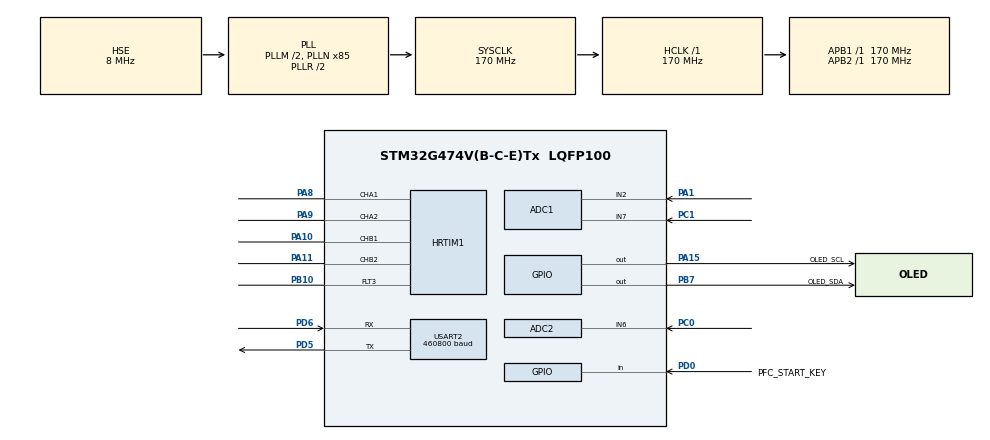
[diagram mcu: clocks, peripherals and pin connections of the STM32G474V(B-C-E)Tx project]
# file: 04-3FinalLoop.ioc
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ADC1.AWD1HighThreshold=4095
ADC1.AWD1ITMode=ENABLE
ADC1.AWD1LowThreshold=0
ADC1.AWD2HighThreshold=4080
ADC1.AWD2ITMode=ENABLE
ADC1.AWDChannel-1\#ChannelRegularConversion=ADC_CHANNEL_7
ADC1.Channel-0\#ChannelRegularConversion=ADC_CHANNEL_2
ADC1.Channel-1\#ChannelRegularConversion=ADC_CHANNEL_7
ADC1.ClockPrescaler=ADC_CLOCK_ASYNC_DIV4
ADC1.DMAContinuousRequests=ENABLE
ADC1.EOCSelection=ADC_EOC_SEQ_CONV
ADC1.EnableAnalogWatchDog1=true
ADC1.EnableAnalogWatchDog2=true
ADC1.EnableAnalogWatchDog3=false
ADC1.ExternalTrigConv=ADC_EXTERNALTRIG_HRTIM_TRG1
ADC1.MonitoredBy-1\#ChannelRegularConversion=ADC_ANALOGWATCHDOG_2
ADC1.NbrOfConversion=2
ADC1.NbrOfConversionFlag=1
ADC1.OffsetNumber-0\#ChannelRegularConversion=ADC_OFFSET_NONE
ADC1.OffsetNumber-1\#ChannelRegularConversion=ADC_OFFSET_NONE
ADC1.Overrun=ADC_OVR_DATA_OVERWRITTEN
ADC1.Rank-0\#ChannelRegularConversion=1
ADC1.Rank-1\#ChannelRegularConversion=2
ADC1.RegFilteringConfig-1\#ChannelRegularConversion=ADC_AWD_FILTERING_NONE
ADC1.SamplingTime-0\#ChannelRegularConversion=ADC_SAMPLETIME_24CYCLES_5
ADC1.SamplingTime-1\#ChannelRegularConversion=ADC_SAMPLETIME_24CYCLES_5
ADC1.WDG2ChannelR2=ADC_CHANNEL_7
ADC1.WatchdogChannel=ADC_CHANNEL_2
ADC1.WatchdogMode2=ADC_ANALOGWATCHDOG_SINGLE_REGINJEC
ADC1.master=1
ADC2.AWD1HighThreshold=4095
ADC2.AWD1ITMode=ENABLE
ADC2.Channel-0\#ChannelRegularConversion=ADC_CHANNEL_6
ADC2.ClockPrescaler=ADC_CLOCK_ASYNC_DIV4
ADC2.DMAContinuousRequests=ENABLE
ADC2.EnableAnalogWatchDog1=true
ADC2.ExternalTrigConv=ADC_EXTERNALTRIG_HRTIM_TRG1
ADC2.NbrOfConversion=1
ADC2.NbrOfConversionFlag=1
ADC2.OffsetNumber-0\#ChannelRegularConversion=ADC_OFFSET_NONE
ADC2.Overrun=ADC_OVR_DATA_OVERWRITTEN
ADC2.Rank-0\#ChannelRegularConversion=1
ADC2.SamplingTime-0\#ChannelRegularConversion=ADC_SAMPLETIME_24CYCLES_5
ADC2.WatchdogChannel=ADC_CHANNEL_6
Dma.ADC1.0.Direction=DMA_PERIPH_TO_MEMORY
Dma.ADC1.0.EventEnable=DISABLE
Dma.ADC1.0.Instance=DMA1_Channel1
Dma.ADC1.0.MemDataAlignment=DMA_MDATAALIGN_HALFWORD
Dma.ADC1.0.MemInc=DMA_MINC_ENABLE
Dma.ADC1.0.Mode=DMA_CIRCULAR
Dma.ADC1.0.PeriphDataAlignment=DMA_PDATAALIGN_HALFWORD
Dma.ADC1.0.PeriphInc=DMA_PINC_DISABLE
Dma.ADC1.0.Polarity=HAL_DMAMUX_REQ_GEN_RISING
Dma.ADC1.0.Priority=DMA_PRIORITY_HIGH
Dma.ADC1.0.RequestNumber=1
Dma.ADC1.0.SignalID=NONE
Dma.ADC1.0.SyncEnable=DISABLE
Dma.ADC1.0.SyncPolarity=HAL_DMAMUX_SYNC_NO_EVENT
Dma.ADC1.0.SyncRequestNumber=1
Dma.ADC1.0.SyncSignalID=NONE
Dma.ADC2.1.Direction=DMA_PERIPH_TO_MEMORY
Dma.ADC2.1.EventEnable=DISABLE
Dma.ADC2.1.Instance=DMA1_Channel2
Dma.ADC2.1.MemDataAlignment=DMA_MDATAALIGN_HALFWORD
Dma.ADC2.1.MemInc=DMA_MINC_ENABLE
Dma.ADC2.1.Mode=DMA_CIRCULAR
Dma.ADC2.1.PeriphDataAlignment=DMA_PDATAALIGN_HALFWORD
Dma.ADC2.1.PeriphInc=DMA_PINC_DISABLE
Dma.ADC2.1.Polarity=HAL_DMAMUX_REQ_GEN_RISING
Dma.ADC2.1.Priority=DMA_PRIORITY_HIGH
Dma.ADC2.1.RequestNumber=1
Dma.ADC2.1.SignalID=NONE
Dma.ADC2.1.SyncEnable=DISABLE
Dma.ADC2.1.SyncPolarity=HAL_DMAMUX_SYNC_NO_EVENT
Dma.ADC2.1.SyncRequestNumber=1
Dma.ADC2.1.SyncSignalID=NONE
Dma.Request0=ADC1
Dma.Request1=ADC2
HRTIM1.ADCTrigger1_Source1=HRTIM_ADCTRIGGEREVENT13_MASTER_CMP2
HRTIM1.ADCTrigger_Id1=HRTIM_ADCTRIGGER_1
HRTIM1.BlankingSourceFaultLine3=__NULL
HRTIM1.Bmrom_TA=HRTIM_TIM_BMROM_BOTH
HRTIM1.Bmrom_TB=HRTIM_TIM_BMROM_BOTH
HRTIM1.CompareUnit1-Output_TA1TA2=HRTIM_COMPAREUNIT_1
HRTIM1.CompareUnit1-Output_TB1TB2=HRTIM_COMPAREUNIT_1
HRTIM1.CompareUnit2-MasterTimer=HRTIM_COMPAREUNIT_2
HRTIM1.CompareValue1-Output_TA1TA2=17000
HRTIM1.CompareValue1-Output_TB1TB2=17000
HRTIM1.CompareValue2-MasterTimer=17000
HRTIM1.DeadTimeInsertion-Output_TA1TA2=HRTIM_TIMDEADTIMEINSERTION_ENABLED
HRTIM1.DeadTimeInsertion-Output_TB1TB2=HRTIM_TIMDEADTIMEINSERTION_ENABLED
HRTIM1.FallingValue-Output_TA1TA2=85
HRTIM1.FallingValue-Output_TB1TB2=85
HRTIM1.FaultEnable_Source1-Output_TA1TA2=HRTIM_TIMFAULTENABLE_FAULT3
HRTIM1.FaultEnable_Source1-Output_TB1TB2=HRTIM_TIMFAULTENABLE_FAULT3
HRTIM1.FaultLevel1-Output_TA1TA2=HRTIM_OUTPUTFAULTLEVEL_INACTIVE
HRTIM1.FaultLevel1-Output_TB1TB2=HRTIM_OUTPUTFAULTLEVEL_INACTIVE
HRTIM1.FaultLevel2-Output_TA1TA2=HRTIM_OUTPUTFAULTLEVEL_INACTIVE
HRTIM1.FaultLevel2-Output_TB1TB2=HRTIM_OUTPUTFAULTLEVEL_INACTIVE
HRTIM1.Fault_Line3=HRTIM_FAULT_3
HRTIM1.Ferom_TA=HRTIM_TIM_FEROM_BOTH
HRTIM1.Ferom_TB=HRTIM_TIM_FEROM_BOTH
HRTIM1.HRTIMInterruptResquests1=HRTIM_IT_FLT3
HRTIM1.NumberADCTriggerSource1=1
HRTIM1.NumberFaultEnable-Output_TA1TA2=1
HRTIM1.NumberFaultEnable-Output_TB1TB2=1
HRTIM1.NumberResetSource1-Output_TA1TA2=1
HRTIM1.NumberResetSource1-Output_TB1TB2=1
HRTIM1.NumberSetSource1-Output_TA1TA2=1
HRTIM1.NumberSetSource1-Output_TB1TB2=1
HRTIM1.NumberUpdateTrigger-Output_TA1TA2=0
HRTIM1.Outrom_TA=HRTIM_TIM_OUTROM_VALLEY
HRTIM1.Outrom_TB=HRTIM_TIM_OUTROM_VALLEY
HRTIM1.Periode_MASTER=34000
HRTIM1.Periode_TA=34000
HRTIM1.Periode_TB=34000
HRTIM1.Polarity_FaultLine3=HRTIM_FAULTPOLARITY_LOW
HRTIM1.PreloadEnable-Output_TA1TA2=HRTIM_PRELOAD_ENABLED
HRTIM1.PreloadEnable-Output_TB1TB2=HRTIM_PRELOAD_ENABLED
HRTIM1.PrescalerDead-Output_TA1TA2=HRTIM_TIMDEADTIME_PRESCALERRATIO_DIV1
HRTIM1.PrescalerDead-Output_TB1TB2=HRTIM_TIMDEADTIME_PRESCALERRATIO_DIV1
HRTIM1.PrescalerRatio_MASTER=HRTIM_PRESCALERRATIO_MUL2
HRTIM1.PrescalerRatio_TA=HRTIM_PRESCALERRATIO_MUL4
HRTIM1.PrescalerRatio_TB=HRTIM_PRESCALERRATIO_MUL4
HRTIM1.RepetitionCounter-MasterTimer=0
HRTIM1.RepetitionCounter-Output_TA1TA2=0
HRTIM1.RepetitionCounter-Output_TB1TB2=0
HRTIM1.RepetitionUpdate-Output_TA1TA2=HRTIM_UPDATEONREPETITION_ENABLED
HRTIM1.RepetitionUpdate-Output_TB1TB2=HRTIM_UPDATEONREPETITION_ENABLED
HRTIM1.ResetOutput1_Source1-Output_TA1TA2=HRTIM_OUTPUTRESET_TIMCMP1
HRTIM1.ResetOutput1_Source1-Output_TB1TB2=HRTIM_OUTPUTRESET_TIMCMP1
HRTIM1.RisingValue-Output_TA1TA2=85
HRTIM1.RisingValue-Output_TB1TB2=85
HRTIM1.SetOutput1_Source1-Output_TA1TA2=HRTIM_OUTPUTSET_TIMCMP1
HRTIM1.SetOutput1_Source1-Output_TB1TB2=HRTIM_OUTPUTSET_TIMCMP1
HRTIM1.UpDownMode-Output_TA1TA2=HRTIM_TIMERUPDOWNMODE_UPDOWN
HRTIM1.UpDownMode-Output_TB1TB2=HRTIM_TIMERUPDOWNMODE_UPDOWN
HRTIM1.postscaler1=0
HRTIM1.rom_TA=HRTIM_TIM_ROM_VALLEY
HRTIM1.rom_TB=HRTIM_TIM_ROM_VALLEY
IWDG.Prescaler=IWDG_PRESCALER_64
IWDG.Reload=249
Mcu.Family=STM32G4
Mcu.Name=STM32G474V(B-C-E)Tx
Mcu.Package=LQFP100
NVIC.ADC1_2_IRQn=true\:1\:0\:true\:false\:true\:true\:true\:true
NVIC.DMA1_Channel1_IRQn=true\:2\:0\:true\:false\:true\:false\:true\:true
NVIC.DMA1_Channel2_IRQn=true\:1\:0\:true\:false\:true\:false\:true\:true
NVIC.HRTIM1_FLT_IRQn=true\:0\:0\:false\:false\:true\:true\:true\:true
NVIC.PriorityGroup=NVIC_PRIORITYGROUP_4
PA1.Mode=IN2-Single-Ended
PA1.Signal=ADC1_IN2
PA10.Mode=Output_TB1TB2
PA10.Signal=HRTIM1_CHB1
PA11.Mode=Output_TB1TB2
PA11.Signal=HRTIM1_CHB2
PA13.Mode=Serial_Wire
PA13.Signal=SYS_JTMS-SWDIO
PA14.Mode=Serial_Wire
PA14.Signal=SYS_JTCK-SWCLK
PA15.GPIO_Label=OLED_SCL
PA15.GPIO_ModeDefaultOutputPP=GPIO_MODE_OUTPUT_PP
PA15.GPIO_PuPd=GPIO_NOPULL
PA15.GPIO_Speed=GPIO_SPEED_FREQ_HIGH
PA15.Signal=GPIO_Output
PA8.Mode=Output_TA1TA2
PA8.Signal=HRTIM1_CHA1
PA9.Mode=Output_TA1TA2
PA9.Signal=HRTIM1_CHA2
PB10.GPIO_PuPd=GPIO_PULLUP
PB10.Mode=Fault_Enable3
PB10.Signal=HRTIM1_FLT3
PB7.GPIO_Label=OLED_SDA
PB7.GPIO_ModeDefaultOutputPP=GPIO_MODE_OUTPUT_OD
PB7.GPIO_PuPd=GPIO_NOPULL
PB7.GPIO_Speed=GPIO_SPEED_FREQ_HIGH
PB7.Signal=GPIO_Output
PC0.Mode=IN6-Single-Ended
PC0.Signal=ADC2_IN6
PC1.Mode=IN7-Single-Ended
PC1.Signal=ADC1_IN7
PD0.GPIO_Label=PFC_START_KEY
PD0.GPIO_PuPd=GPIO_PULLUP
PD0.Signal=GPIO_Input
PD5.Mode=Asynchronous
PD5.Signal=USART2_TX
PD6.Mode=Asynchronous
PD6.Signal=USART2_RX
PF0-OSC_IN.Mode=HSE-External-Oscillator
PF0-OSC_IN.Signal=RCC_OSC_IN
PF1-OSC_OUT.Mode=HSE-External-Oscillator
PF1-OSC_OUT.Signal=RCC_OSC_OUT
ProjectManager.HeapSize=0x200
ProjectManager.StackSize=0x400
ProjectManager.TargetToolchain=MDK-ARM V5.32
RCC.ADC12Freq_Value=170000000
RCC.ADC345Freq_Value=170000000
RCC.AHBFreq_Value=170000000
RCC.APB1Freq_Value=170000000
RCC.APB1TimFreq_Value=170000000
RCC.APB2Freq_Value=170000000
RCC.APB2TimFreq_Value=170000000
RCC.CortexFreq_Value=170000000
RCC.EXTERNAL_CLOCK_VALUE=12288000
RCC.EnbaleCSS=true
RCC.HCLKFreq_Value=170000000
RCC.HSE_VALUE=8000000
RCC.HSI48_VALUE=48000000
RCC.HSI_VALUE=16000000
RCC.LSE_VALUE=32768
RCC.PLLM=RCC_PLLM_DIV2
RCC.PLLN=85
RCC.PLLSourceVirtual=RCC_PLLSOURCE_HSE
RCC.SYSCLKFreq_VALUE=170000000
RCC.SYSCLKSource=RCC_SYSCLKSOURCE_PLLCLK
RCC.USBFreq_Value=170000000
RCC.VCOOutputFreq_Value=340000000
USART2.BaudRate=460800
USART2.VirtualMode-Asynchronous=VM_ASYNC
VP_HRTIM1_VS_hrtimMasterTimerNoOutput.Mode=MasterTimer
VP_IWDG_VS_IWDG.Mode=IWDG_Activate
VP_SYS_VS_DBSignals.Mode=DisableDeadBatterySignals
board=custom

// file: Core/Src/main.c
/* USER CODE BEGIN Header */
/**
  ******************************************************************************
  * @file           : main.c
  * @brief          : 36 V输入/60 V母线单相PWM整流器PI-only验证主程序
  ******************************************************************************
  * @attention
  *
  * Copyright (c) 2026 STMicroelectronics.
  * All rights reserved.
  *
  * This software is licensed under terms that can be found in the LICENSE file
  * in the root directory of this software component.
  * If no LICENSE file comes with this software, it is provided AS-IS.
  *
  ******************************************************************************
  */
/*
 * 本文件负责CubeMX外设初始化、PFC应用模块装配、低速显示/通信调度以及HAL回调转发，
 * 不在主循环中直接计算PWM调制，也不直接解释DMA缓冲区中的半更新数据。
 *
 * 启动数据流：GPIO安全态 -> ADC校准/AWD -> 双ADC循环DMA -> HRTIM采样时基 -> IWDG。
 * 运行数据流：HRTIM TRG1 -> ADC/DMA回调 -> 测量快照/10 kHz PI+模型控制；主循环只处理
 * 1 ms状态机、10 ms VOFA、100 ms OLED和100 ms安全监督。
 *
 * 当前板卡没有MCU可控Gate Enable。打开TA1/TA2/TB1/TB2即可能驱动功率器件；
 * 默认RAW_ADC模式只发布原始统计且禁止PWM；工程量复核和闭环许可由用户配置分层控制。
 */
/* USER CODE END Header */
#include "main.h"
#include "adc.h"
#include "dma.h"
#include "hrtim.h"
#include "usart.h"
#include "gpio.h"

/* USER CODE BEGIN Includes */
#include "OLED.h"
#include "pfc_measure.h"
#include "pfc_hrtim.h"
#include "iwdg.h"
#include "vofa.h"
#include "pfc_params.h"
#include "pfc_app.h"
#include "pfc_control.h"
/* USER CODE END Includes */

/* USER CODE BEGIN PV */

/*
 * VOFA JustFloat发送缓存，由主循环每10 ms写入并阻塞发送，固定使用10个通道。
 * 三种运行模式的通道映射由PFC_DebugFillVofa()统一生成，避免现场调试时散改main。
 * CH7始终编码PFC状态与完整故障位；CH8/CH9用于统计或输入功率诊断。
 * 详细通道定义见项目Markdown使用说明。
 */
static float vofa_data[VOFA_MAX_CHANNELS] = {0.0f};

/* VOFA发送结果累计值，仅由主循环写，供Keil Watch判断调试串口是否持续工作。 */
static uint32_t vofa_tx_ok_count = 0U;
static uint32_t vofa_tx_error_count = 0U;

/* 当前编译期参数档的常驻只读地址；初始化后由main和各PFC模块共同读取。 */
static const PFC_Params *pfc_params = NULL;

/* 上电复位来源快照：1表示IWDG复位；只在初始化时写入并传给状态机。 */
static uint8_t pfc_iwdg_reset_seen = 0U;

/* USER CODE END PV */

void SystemClock_Config(void);
/* USER CODE BEGIN PFP */
static void PFC_DebugInitOledLabels(PFC_RunMode mode);
static void PFC_DebugFillVofa(const PFC_Measurement *measurement,
                              const PFC_AdcCalibrationStats *stats,
                              const PFC_ControlTelemetry *control);
static void PFC_DebugRefreshOled(const PFC_Measurement *measurement,
                                 const PFC_AdcCalibrationStats *stats,
                                 const PFC_ControlTelemetry *control);
/* USER CODE END PFP */

/* USER CODE BEGIN 0 */

/** @brief 按编译期运行模式写入OLED固定标签；只在上电初始化阶段调用一次。 */
static void PFC_DebugInitOledLabels(PFC_RunMode mode)
{
  if (mode == PFC_RUN_MODE_RAW_ADC)
  {
    OLED_ShowString(1, 1, "I:    /    /    ");
    OLED_ShowString(2, 1, "V:    /    /    ");
    OLED_ShowString(3, 1, "D:    W:     ");
    OLED_ShowString(4, 1, "S:  F:     ");
  }
  else if (mode == PFC_RUN_MODE_ENGINEERING_CHECK)
  {
    OLED_ShowString(1, 1, "VM:    VR:    ");
    OLED_ShowString(2, 1, "VN:    VX:    ");
    OLED_ShowString(3, 1, "VB:     B:   ");
    OLED_ShowString(4, 1, "E:  F:     ");
  }
  else
  {
    /*
     * 闭环页面只显示适合低刷新率观察的慢变量。IR、VR分别表示输入电流和输入电压RMS，
     * 避免100 ms刷新周期恰好等于50 Hz的5个周期而把瞬时量固定在近似相同相位。
     */
    OLED_ShowString(1, 1, "VAC:    VB:     ");
    OLED_ShowString(2, 1, "BR:     I*:    ");
    OLED_ShowString(3, 1, "M:     S:  D:  ");
    OLED_ShowString(4, 1, "F:     U: ");
  }
}

/**
 * @brief 依据运行模式填充10路VOFA JustFloat缓存。
 * @note  只由主循环每10 ms调用；函数不发送串口，也不直接读取DMA数组。
 */
static void PFC_DebugFillVofa(const PFC_Measurement *measurement,
                              const PFC_AdcCalibrationStats *stats,
                              const PFC_ControlTelemetry *control)
{
  if ((measurement == NULL) || (stats == NULL) || (control == NULL) ||
      (pfc_params == NULL))
  {
    return;
  }

  if (pfc_params->run_mode == PFC_RUN_MODE_RAW_ADC)
  {
    vofa_data[0] = (float)stats->ipfc_mean;
    vofa_data[1] = (float)stats->ipfc_min;
    vofa_data[2] = (float)stats->ipfc_max;
    vofa_data[3] = (float)stats->vac_mean;
    vofa_data[4] = (float)stats->vac_min;
    vofa_data[5] = (float)stats->vac_max;
    vofa_data[6] = (float)stats->vbus_mean;
    /* CH8=窗口序号+valid小数标志，CH9保留为0，便于确认1秒统计持续发布。 */
    vofa_data[8] = (float)stats->window_sequence +
                   ((stats->valid != 0U) ? 0.5f : 0.0f);
    vofa_data[9] = 0.0f;
  }
  else if (pfc_params->run_mode == PFC_RUN_MODE_ENGINEERING_CHECK)
  {
    vofa_data[0] = measurement->vac;
    vofa_data[1] = measurement->vac_rms;
    /* IPFC当前只保留原始码监视；禁止把不可信换算值发送成工程量。 */
    vofa_data[2] = (float)measurement->ipfc_raw;
    vofa_data[3] = 0.0f;
    vofa_data[4] = measurement->vbus;
    vofa_data[5] = measurement->vac_frequency_hz;
    /* CH6=参数错误码*1000+READY阻断位，可在VOFA中用整数除法分别解码。 */
    vofa_data[6] =
        (float)(PFC_Params_GetValidationError(pfc_params) * 1000U +
                PFC_AppGetReadyBlockReason(measurement));
    vofa_data[8] = measurement->input_active_power_w;
    vofa_data[9] = measurement->input_power_factor;
  }
  else
  {
    vofa_data[0] = measurement->vac;
    vofa_data[1] = measurement->vbus;
    vofa_data[2] = control->vbus_reference;
    vofa_data[3] = control->current_rms_command;
    vofa_data[4] = control->current_reference;
    vofa_data[5] = control->bridge_voltage_reference;
    vofa_data[6] = control->modulation;
    vofa_data[8] = (float)measurement->ipfc_raw;
    /* CH9高位为无保护重载标志，低两位为控制细分故障码。 */
    vofa_data[9] = (float)((uint32_t)control->unprotected_heavy_override * 100U +
                           (uint32_t)control->failure_reason);
  }
  vofa_data[7] = (float)((uint32_t)PFC_AppGetState() * 1000000U +
                         measurement->fault_bits);
}

/**
 * @brief 按运行模式刷新OLED数字区域。
 * @note  主循环每100 ms调用；所有输入均为一致性快照，禁止从ADC/HRTIM ISR调用。
 */
static void PFC_DebugRefreshOled(const PFC_Measurement *measurement,
                                 const PFC_AdcCalibrationStats *stats,
                                 const PFC_ControlTelemetry *control)
{
  if ((measurement == NULL) || (stats == NULL) || (control == NULL) ||
      (pfc_params == NULL))
  {
    return;
  }

  if (pfc_params->run_mode == PFC_RUN_MODE_RAW_ADC)
  {
    OLED_ShowNum(1, 3, stats->ipfc_mean, 4);
    OLED_ShowNum(1, 8, stats->ipfc_min, 4);
    OLED_ShowNum(1, 13, stats->ipfc_max, 4);
    OLED_ShowNum(2, 3, stats->vac_mean, 4);
    OLED_ShowNum(2, 8, stats->vac_min, 4);
    OLED_ShowNum(2, 13, stats->vac_max, 4);
    OLED_ShowNum(3, 3, stats->vbus_mean, 4);
    OLED_ShowNum(3, 9, stats->window_sequence % 100000U, 5);
    OLED_ShowNum(4, 3, (uint32_t)PFC_AppGetState(), 2);
    OLED_ShowHexNum(4, 7, measurement->fault_bits, 5);
  }
  else if (pfc_params->run_mode == PFC_RUN_MODE_ENGINEERING_CHECK)
  {
    /* VM/VN/VX为VAC原始mean/min/max；VR为换算后的0.01 V RMS。 */
    OLED_ShowNum(1, 4, stats->vac_mean, 4);
    OLED_ShowNum(1, 12, (uint32_t)(measurement->vac_rms * 100.0f), 4);
    OLED_ShowNum(2, 4, stats->vac_min, 4);
    OLED_ShowNum(2, 12, stats->vac_max, 4);
    /* VB单位0.01 V；B是READY阻断位，便于直接定位VAC比例或母线门槛问题。 */
    OLED_ShowNum(3, 4, (uint32_t)(measurement->vbus * 100.0f), 5);
    OLED_ShowHexNum(3, 12, PFC_AppGetReadyBlockReason(measurement), 3);
    OLED_ShowHexNum(4, 3, PFC_Params_GetValidationError(pfc_params), 2);
    OLED_ShowHexNum(4, 8, measurement->fault_bits, 5);
  }
  else
  {
    /*
     * 第1行：VAC为交流电压RMS乘10，VB为母线电压乘10，单位均为0.1 V。
     * IPFC不在OLED工程量页显示，避免把原始噪声误认为实测电流。
     */
    OLED_ShowNum(1, 5, (uint32_t)(measurement->vac_rms * 10.0f), 4);
    OLED_ShowNum(1, 12, (uint32_t)(measurement->vbus * 10.0f), 4);

    /*
     * 第2行：BR为母线参考乘10，单位0.1 V；I*为PI输出的虚拟电流RMS乘1000，
     * 仅表示模型指令，不是实测电流，也不承担过流保护。
     */
    OLED_ShowNum(2, 4, (uint32_t)(control->vbus_reference * 10.0f), 4);
    OLED_ShowNum(2, 12, (uint32_t)(control->current_rms_command * 1000.0f), 4);

    /*
     * 第3行：M为调制度乘10000，范围约-9000～+9000。
     * OLED_ShowSignedNum()会额外显示1个符号，因此Length=4总共占5列（第3～7列），
     * 不会覆盖第8列的状态标签S；S显示PFC应用状态机的十进制编号。
     * D显示两位十六进制控制失败原因。S=05表示等待PD0，S=11表示已接收启动命令、
     * 正在预装载VAC/VBUS前馈并等待新正向过零；S=06才表示四路PWM已经开放。
     * 正常运行时D应为00；进入S=10且
      * F包含08000时，D能区分VBUS除法、PI数值、调制度和HRTIM写入等具体位置。
     */
    OLED_ShowSignedNum(3, 3, (int32_t)(control->modulation * 10000.0f), 4);
    OLED_ShowNum(3, 10, (uint32_t)PFC_AppGetState(), 2);
    OLED_ShowHexNum(3, 15, (uint32_t)control->failure_reason, 2);

    /*
     * 第4行：F为5位故障码；U为无保护重载强制标志。U=1只说明用户打开了
     * PFC_USER_ALLOW_UNPROTECTED_HEAVY_LOAD，绝不表示硬件OCP/DESAT已经存在。
     */
    OLED_ShowHexNum(4, 3, measurement->fault_bits, 5);
    OLED_ShowNum(4, 11, (uint32_t)control->unprotected_heavy_override, 1);
  }
}

/* USER CODE END 0 */

int main(void)
{

  /* MCU Configuration--------------------------------------------------------*/

  /* Reset of all peripherals, Initializes the Flash interface and the Systick. */
  HAL_Init();

  /* Configure the system clock */
  SystemClock_Config();

  /* Initialize all configured peripherals */
  MX_GPIO_Init();
  MX_DMA_Init();
  MX_HRTIM1_Init();
  MX_ADC1_Init();
  MX_ADC2_Init();
  MX_USART2_UART_Init();
  /* USER CODE BEGIN 2 */

  /* CubeMX初始化结束后第一时间保持四路输出关闭；当前板卡没有独立Gate Enable。 */
  PFC_HRTIM_StopPower();

  pfc_iwdg_reset_seen = (__HAL_RCC_GET_FLAG(RCC_FLAG_IWDGRST) != RESET) ? 1U : 0U;
  __HAL_RCC_CLEAR_RESET_FLAGS();
  pfc_params = PFC_Params_GetActive();

	/*
	 * 上电后先等待OLED内部电源和电荷泵稳定。该延时只在初始化阶段执行，
	 * 不能放入主循环或快速采样回调，否则会阻塞后台任务或控制节拍。
	 */
	HAL_Delay(100);
	OLED_Init();

	/* 初始化测量模块的软件状态、DMA样本快照、序列号和故障标志。 */
	PFC_Measure_Init(pfc_params);
	PFC_AppInit(pfc_params, pfc_iwdg_reset_seen);

	/* 固定标签只写一次；运行模式由pfc_user_config.h在编译期选择。 */
	PFC_DebugInitOledLabels(pfc_params->run_mode);

  /* ADC校准必须在启动规则组DMA之前完成，此时HRTIM尚未产生ADC触发。 */
  if (HAL_ADCEx_Calibration_Start(&hadc2, ADC_SINGLE_ENDED) != HAL_OK)
  {
    PFC_Measure_Trip(PFC_FAULT_ADC_ERROR);
    Error_Handler();
  }

  /* 再校准IPFC和VBUS使用的ADC1。 */
  if (HAL_ADCEx_Calibration_Start(&hadc1, ADC_SINGLE_ENDED) != HAL_OK)
  {
    PFC_Measure_Trip(PFC_FAULT_ADC_ERROR);
    Error_Handler();
  }

  /*
   * 标定有效时按参数档重写IPFC、VBUS和VAC看门狗阈值；标定无效时函数保留
   * CubeMX宽窗口。AWD配置必须早于HAL_ADC_Start_DMA()，避免转换期间改模式。
   */
  if (PFC_Measure_ConfigureWatchdogs(&hadc1, &hadc2) != HAL_OK)
  {
    PFC_Measure_Trip(PFC_FAULT_PARAM | PFC_FAULT_ADC_ERROR);
    Error_Handler();
  }

  /*
   * ADC2规则组只有VAC一个Rank。先启动ADC2 DMA，使其提前进入等待
   * HRTIM_TRG1的状态。DMA硬件更新VAC原始数组，完整传输回调只推进
   * adc2_sequence，供随后完成的ADC1回调判断两个ADC是否属于同一采样节拍。
   */
  if (HAL_ADC_Start_DMA(&hadc2, (uint32_t *)PFC_Adc2Dma, 1U) != HAL_OK)
  {
    PFC_Measure_Trip(PFC_FAULT_ADC_ERROR);
    Error_Handler();
  }

  /*
   * ADC1规则组依次采集IPFC和VBUS，DMA长度2必须与Rank数量一致。
   * ADC1完成回调在两个Rank均搬运结束后发生，并作为唯一10 kHz快速入口；
   * ADC2回调只发布VAC序列，不能再次执行同一周期的控制或测量处理。
   */
  if (HAL_ADC_Start_DMA(&hadc1, (uint32_t *)PFC_Adc1Dma, 2U) != HAL_OK)
  {
    PFC_Measure_Trip(PFC_FAULT_ADC_ERROR);
    Error_Handler();
  }

  /*
   * 循环DMA默认会产生Half Transfer和Transfer Complete两类中断。
   * 本工程只在一整个规则序列完成后处理样本，因此关闭HT中断，
   * 避免ADC1 Rank 1完成时提前读取尚未更新的VBUS并重复进入回调。
   */
  __HAL_DMA_DISABLE_IT(hadc2.DMA_Handle, DMA_IT_HT);
  __HAL_DMA_DISABLE_IT(hadc1.DMA_Handle, DMA_IT_HT);

  /*
   * 启动Master、Timer A/B计数器以产生10 kHz ADC Trigger。
   * 此函数只建立采样时基，不开放TA1/TA2/TB1/TB2输出。
   */
  if (PFC_HRTIM_StartSampling() != HAL_OK)
  {
    PFC_Measure_Trip(PFC_FAULT_HRTIM);
    Error_Handler();
  }

  /*
   * IWDG放在可能耗时或失败的初始化之后启动。启动后不能关闭，只有在
   * ADC序列、测量快照和故障状态均正常时才刷新，异常时允许其复位系统。
   */
  MX_IWDG_Init();
  /* 仅在Keil/ST-Link暂停内核时冻结IWDG；脱离调试器运行时IWDG节拍不受影响。 */
  __HAL_DBGMCU_FREEZE_IWDG();

  /* USER CODE END 2 */

  /* Infinite loop */
  /* USER CODE BEGIN WHILE */

  /* ms Tick；主循环独占写入，用于把OLED刷新限制为100 ms一次。 */
  uint32_t oled_tick = HAL_GetTick();

  /* ms Tick；主循环独占写入，VOFA约每秒发送100帧且不追补过期帧。 */
  uint32_t vofa_tick = HAL_GetTick();

  /* ms Tick；安全监督与OLED独立计时，显示任务不能改变喂狗判据。 */
  uint32_t safety_tick = HAL_GetTick();
  /* 上一监督窗口的ADC序列快照；每100 ms更新，用于检测任一路DMA停滞。 */
  uint32_t safety_last_adc1_sequence = 0U;
  uint32_t safety_last_adc2_sequence = 0U;
  /* ms Tick；通过逐毫秒追赶调用状态机，短暂主循环延迟不会跳过消抖计时。 */
  uint32_t app_tick = HAL_GetTick();
  while (1)
  {
    /* USER CODE END WHILE */

    /* USER CODE BEGIN 3 */

    while ((HAL_GetTick() - app_tick) >= 1U)
    {
      app_tick++;
      PFC_AppTick1ms();
    }

	/*
	 * 每10 ms发送一次VOFA数据。阻塞式USART只允许放在主循环，
	 * 不能放进10 kHz ADC DMA回调，否则会破坏快速采样和后续控制节拍。
	 */
	if ((HAL_GetTick() - vofa_tick) >= 10U)
	{
		PFC_Measurement vofa_measurement;
		PFC_AdcCalibrationStats calibration_stats;
		PFC_ControlTelemetry control_telemetry;

		/* 以当前时刻为新基准，主循环偶尔延迟时不连续补发旧帧。 */
		vofa_tick = HAL_GetTick();

		/* 读取ISR已经发布的完整快照，不直接读取正在由DMA改写的数组。 */
		PFC_Measure_GetSnapshot(&vofa_measurement);
		PFC_Measure_GetCalibrationStats(&calibration_stats);
		PFC_Control_GetTelemetry(&control_telemetry);
		PFC_DebugFillVofa(&vofa_measurement, &calibration_stats,
		                  &control_telemetry);

		/*
		 * HAL_OK只能说明MCU已完成串口发送，最终链路仍需观察VOFA曲线确认。
		 * 调试通信不是保护条件，因此发送失败只计数，不停ADC/HRTIM也不喂故障。
		 */
		if (VOFA_Send(&huart2, vofa_data, VOFA_MAX_CHANNELS) == HAL_OK)
		{
			vofa_tx_ok_count++;
		}
		else
		{
			vofa_tx_error_count++;
		}
	}

	/*
	 * 每100 ms执行一次低速显示和安全监督。这里使用无阻塞的Tick差值，
	 * 而不是HAL_Delay()，以便主循环后续继续加入状态机和通信任务。
	 */
	if ((HAL_GetTick() - oled_tick) >= 100U)
    {
		/* 记录本次实际执行时刻；OLED写屏超时后不连续追赶历史周期。 */
		oled_tick = HAL_GetTick();
        PFC_Measurement measurement;
        PFC_AdcCalibrationStats calibration_stats;
        PFC_ControlTelemetry control_telemetry;

        /*
         * 主循环不直接读取正在被DMA改写的PFC_Adc1Dma/PFC_Adc2Dma。
         * 通过测量模块取得同一发布时刻的完整快照，避免显示半更新数据。
        */
        PFC_Measure_GetSnapshot(&measurement);
        PFC_Measure_GetCalibrationStats(&calibration_stats);
        PFC_Control_GetTelemetry(&control_telemetry);
        PFC_DebugRefreshOled(&measurement, &calibration_stats,
                             &control_telemetry);
    }

    if ((HAL_GetTick() - safety_tick) >= 100U)
    {
      PFC_Measurement safety_measurement;

      safety_tick = HAL_GetTick();
      PFC_Measure_GetSnapshot(&safety_measurement);
      if ((safety_measurement.adc1_sequence == safety_last_adc1_sequence) ||
          (safety_measurement.adc2_sequence == safety_last_adc2_sequence))
      {
        /* 任一路DMA停滞都先锁存同步故障，再停止刷新IWDG。 */
        PFC_Measure_Trip(PFC_FAULT_ADC_SYNC);
      }
#if PFC_USER_RELAXED_PWM_TEST != 0U
      else if ((PFC_AppGetState() == PFC_FAULT_LATCH) &&
               ((safety_measurement.fault_bits & PFC_FAULT_CONTROL) != 0U))
      {
        /*
         * 当前波形诊断模式下，控制故障发生后PWM已经关闭。只要两路ADC/DMA仍在推进，
         * 继续刷新IWDG以保留S=10/F/D现场；DMA停滞仍会走上面的分支并停止喂狗。
         */
        (void)HAL_IWDG_Refresh(&hiwdg);
      }
#endif
      else if (PFC_AppWatchdogHealthy() != 0U)
      {
        (void)HAL_IWDG_Refresh(&hiwdg);
      }
      safety_last_adc1_sequence = safety_measurement.adc1_sequence;
      safety_last_adc2_sequence = safety_measurement.adc2_sequence;
    }

  }
  /* USER CODE END 3 */
}

void SystemClock_Config(void)
{
  RCC_OscInitTypeDef RCC_OscInitStruct = {0};
  RCC_ClkInitTypeDef RCC_ClkInitStruct = {0};

  /** Configure the main internal regulator output voltage
  */
  HAL_PWREx_ControlVoltageScaling(PWR_REGULATOR_VOLTAGE_SCALE1_BOOST);

  /** Initializes the RCC Oscillators according to the specified parameters
  * in the RCC_OscInitTypeDef structure.
  */
  RCC_OscInitStruct.OscillatorType = RCC_OSCILLATORTYPE_LSI|RCC_OSCILLATORTYPE_HSE;
  RCC_OscInitStruct.HSEState = RCC_HSE_ON;
  RCC_OscInitStruct.LSIState = RCC_LSI_ON;
  RCC_OscInitStruct.PLL.PLLState = RCC_PLL_ON;
  RCC_OscInitStruct.PLL.PLLSource = RCC_PLLSOURCE_HSE;
  RCC_OscInitStruct.PLL.PLLM = RCC_PLLM_DIV2;
  RCC_OscInitStruct.PLL.PLLN = 85;
  RCC_OscInitStruct.PLL.PLLP = RCC_PLLP_DIV2;
  RCC_OscInitStruct.PLL.PLLQ = RCC_PLLQ_DIV2;
  RCC_OscInitStruct.PLL.PLLR = RCC_PLLR_DIV2;
  if (HAL_RCC_OscConfig(&RCC_OscInitStruct) != HAL_OK)
  {
    Error_Handler();
  }

  /** Initializes the CPU, AHB and APB buses clocks
  */
  RCC_ClkInitStruct.ClockType = RCC_CLOCKTYPE_HCLK|RCC_CLOCKTYPE_SYSCLK
                              |RCC_CLOCKTYPE_PCLK1|RCC_CLOCKTYPE_PCLK2;
  RCC_ClkInitStruct.SYSCLKSource = RCC_SYSCLKSOURCE_PLLCLK;
  RCC_ClkInitStruct.AHBCLKDivider = RCC_SYSCLK_DIV1;
  RCC_ClkInitStruct.APB1CLKDivider = RCC_HCLK_DIV1;
  RCC_ClkInitStruct.APB2CLKDivider = RCC_HCLK_DIV1;

  if (HAL_RCC_ClockConfig(&RCC_ClkInitStruct, FLASH_LATENCY_4) != HAL_OK)
  {
    Error_Handler();
  }

  /** Enables the Clock Security System
  */
  HAL_RCC_EnableCSS();
}

/* USER CODE BEGIN 4 */

/**
 * @brief ADC规则组DMA完整传输回调。
 * @param hadc 发生完整转换事件的ADC句柄。
 *
 * 两路ADC均由HRTIM Master CMP2通过HRTIM_TRG1以10 kHz触发。
 * ADC2先完成单通道VAC采样并发布序列号；ADC1完成IPFC、VBUS两个Rank后，
 * 检查ADC2的新样本并形成一次同步测量快照。控制算法后续也应只从ADC1
 * 分支进入，避免一个PWM周期执行两次。
 *
 * 该函数运行在DMA中断上下文，禁止调用OLED、阻塞式USART或HAL_Delay()。
 */
void HAL_ADC_ConvCpltCallback(ADC_HandleTypeDef *hadc)
{
  if ((hadc != NULL) && (hadc->Instance == ADC2))
  {
    PFC_Measure_OnAdc2Complete();
  }
  else if ((hadc != NULL) && (hadc->Instance == ADC1))
  {
    PFC_Measure_OnAdc1Complete();

    /* ADC1完整序列是唯一10 kHz控制入口；锁存故障后不得继续推进PI或模型调制。 */
    if (PFC_Measure_GetFault() == PFC_FAULT_NONE)
    {
      PFC_AppFastStep();
    }
  }
}

/**
 * @brief  将任一ADC的HAL错误统一转换为锁存故障。
 * @param  hadc 发生错误的ADC句柄；当前策略不按ADC实例区分恢复方式。
 * @note   运行在ADC/DMA错误中断上下文，只允许执行非阻塞安全关断和故障记录。
 */
void HAL_ADC_ErrorCallback(ADC_HandleTypeDef *hadc)
{
  /*
   * ADC发生Overrun、DMA或内部状态错误时进入。当前不区分具体ADC，
   * 统一交给测量模块锁存ADC故障；功率控制中不能尝试自动恢复输出。
   */
  (void)hadc;
  PFC_Measure_AdcError();
}

/**
 * @brief ADC1/2模拟看门狗1越窗回调。
 * @param hadc 发生AWD1事件的ADC句柄；ADC1对应IPFC，ADC2对应VAC。
 * @note 运行在ADC1_2中断中；波形验证开关为1时全部AWD事件只到达回调，不再锁存或关PWM。
 */
void HAL_ADC_LevelOutOfWindowCallback(ADC_HandleTypeDef *hadc)
{
  if ((hadc != NULL) && (hadc->Instance == ADC1))
  {
    PFC_Measure_AnalogWatchdog(PFC_AWD_SOURCE_IPFC);
  }
  else if ((hadc != NULL) && (hadc->Instance == ADC2))
  {
    PFC_Measure_AnalogWatchdog(PFC_AWD_SOURCE_VAC);
  }
}

/**
 * @brief ADC1模拟看门狗2越窗回调，专门记录VBUS过压。
 * @param hadc 预期为ADC1句柄。
 * @note 运行在ADC1_2中断中；波形验证开关为1时该回调不锁存故障，也不关闭PWM。
 */
void HAL_ADCEx_LevelOutOfWindow2Callback(ADC_HandleTypeDef *hadc)
{
  if ((hadc != NULL) && (hadc->Instance == ADC1))
  {
    PFC_Measure_AnalogWatchdog(PFC_AWD_SOURCE_VBUS);
  }
}

/**
 * @brief  记录HRTIM Fault 3事件并锁存PFC故障。
 * @param  hhrtim 产生Fault 3中断的HRTIM句柄；当前工程只有HRTIM1。
 * @note   HRTIM硬件输出无效逻辑是第一关断路径，本ISR不是短路保护的首响应路径。
 */
void HAL_HRTIM_Fault3Callback(HRTIM_HandleTypeDef *hhrtim)
{
  /*
   * Fault 3硬件逻辑已先把HRTIM输出置为Inactive；ISR随后记录故障状态，
   * 供主循环显示和状态机处理。清除中断标志不代表允许自动恢复PWM。
   */
  (void)hhrtim;
  PFC_Measure_Trip(PFC_FAULT_HRTIM);
}

/* USER CODE END 4 */

void Error_Handler(void)
{
  /* USER CODE BEGIN Error_Handler_Debug */
  /*
   * 不可恢复的初始化或HAL错误统一进入安全态：先关闭全部HRTIM计数和
   * 输出，再禁止中断并停留；若IWDG已经启动，最终由IWDG复位系统。
   * 当前驱动板没有MCU Gate Enable，因此HRTIM输出禁止就是软件关断边界。
   */
  PFC_HRTIM_StopAll();
  __disable_irq();
  while (1)
  {
  }
  /* USER CODE END Error_Handler_Debug */
}
